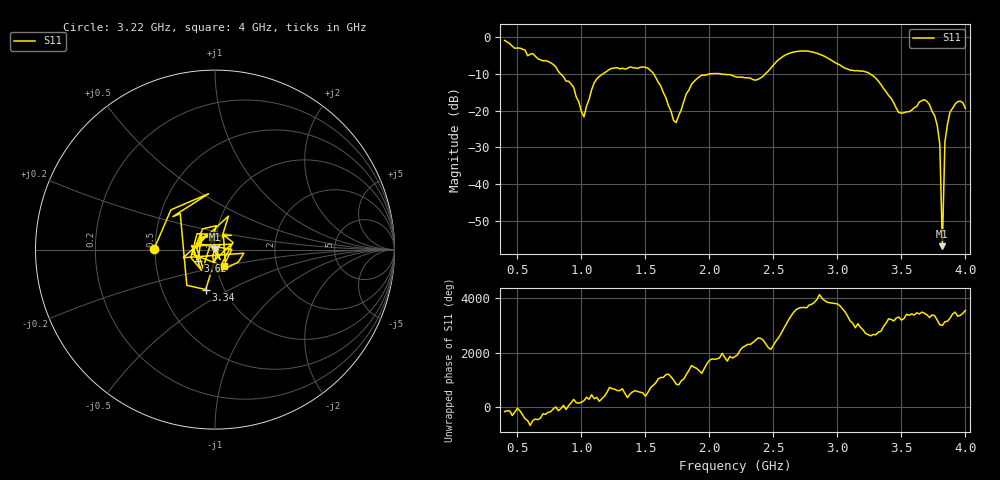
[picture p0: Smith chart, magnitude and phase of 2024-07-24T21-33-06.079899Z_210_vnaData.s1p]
!Created with skrf (http://scikit-rf.org).
# Hz S RI R 50.0
!freq ReS11 ImS11
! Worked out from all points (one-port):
!   181 points, 400 MHz to 4 GHz, reference 50 ohm
!   lowest |S11| = -57.0 dB at 3.82 GHz (marker M1), VSWR 1.00, Z = 49.9 + j0.13 ohm
!   |S11| at or under -10 dB: 838.9 MHz to 1.165 GHz (325.8 MHz wide, 32.5 % of centre); 1.566 GHz to 1.993 GHz (427.6 MHz wide, 24 % of centre); 3.257 GHz to end of sweep (the widest 3 of 4)
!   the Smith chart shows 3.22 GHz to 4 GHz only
!   S11 on the Smith chart (normalised r, x): 3.22 GHz: 0.49, +0.00; 3.34 GHz: 0.82, -0.38; 3.62 GHz: 0.82, -0.10; 4 GHz: 1.09, -0.21
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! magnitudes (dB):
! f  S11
! 400 MHz  -0.8
! 860 MHz  -10.7
! 940 MHz  -13.7
! 1.02 GHz  -21.7
! 1.12 GHz  -11.3
! 1.3 GHz  -8.6
! 1.52 GHz  -8.4
! 1.72 GHz  -22.7
! 1.76 GHz  -21.3
! 1.86 GHz  -12.8
! 1.94 GHz  -10.3
! 2.2 GHz  -10.7
! 2.38 GHz  -11.4
! 2.66 GHz  -3.9
! 3.1 GHz  -8.9
! 3.22 GHz  -9.4
! 3.34 GHz  -12.8
! 3.48 GHz  -20.5
! 3.56 GHz  -20.3
! 3.62 GHz  -18.8
! 3.7 GHz  -17.5
! 3.78 GHz  -24.0
! 3.8 GHz  -29.1
! 3.82 GHz  -57.0
! 3.84 GHz  -28.5
! 3.86 GHz  -23.7
! 3.94 GHz  -17.5
! 4 GHz  -19.4
